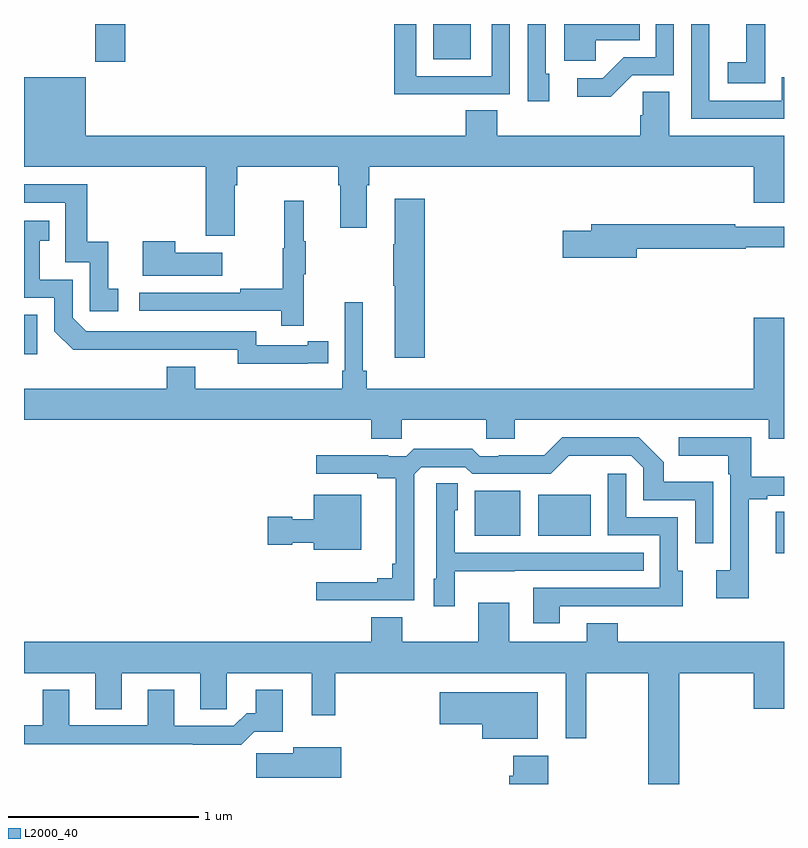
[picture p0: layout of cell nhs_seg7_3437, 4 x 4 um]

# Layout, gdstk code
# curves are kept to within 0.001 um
import gdstk
lib = gdstk.Library(unit=1e-6, precision=1e-09)
def R(c, l, rs):  # rectangles x0, y0, x1, y1
    for r in rs: c.add(gdstk.rectangle(r[:2], r[2:], *l))
def P(c, l, *ps):  # polygons
    for p in ps: c.add(gdstk.Polygon(p, *l))
L2000_40 = (2000, 40)

nhs_seg7_3437 = lib.new_cell('nhs_seg7_3437')
R(nhs_seg7_3437, L2000_40, [(332.957,1033.214,333,1033.433), (331.373,1033.307,331.612,1033.543), (331.706,1033.307,331.984,1033.522), (329,1034.262,329.07,1034.469), (329.374,1035.801,329.534,1036), (331.154,1035.815,331.351,1036)])
P(nhs_seg7_3437, L2000_40, [(331.241,1035.63),(331.557,1035.63),(331.557,1036),(331.461,1036),(331.461,1035.726),(331.065,1035.726),(331.065,1036),(330.949,1036),(330.949,1035.629),(331.241,1035.629)],
  [(333,1035.72),(332.988,1035.72),(332.988,1035.597),(332.607,1035.597),(332.607,1036),(332.511,1036),(332.511,1035.501),(333,1035.501)],
  [(331.765,1035.738),(331.746,1035.738),(331.746,1036),(331.65,1036),(331.65,1035.594),(331.765,1035.594)],
  [(332.901,1035.895),(332.9,1035.895),(332.9,1036),(332.801,1036),(332.801,1035.799),(332.703,1035.799),(332.703,1035.689),(332.901,1035.689)],
  [(332.01,1035.914),(332.24,1035.914),(332.24,1036),(331.844,1036),(331.844,1035.806),(332.01,1035.806)],
  [(332.202,1035.729),(332.421,1035.729),(332.421,1036),(332.325,1036),(332.325,1035.825),(332.156,1035.825),(332.045,1035.714),(331.911,1035.714),(331.911,1035.617),(332.089,1035.617)],
  [(330.109,1035.152),(330.122,1035.152),(330.122,1035.248),(330.653,1035.248),(330.653,1035.152),(330.665,1035.152),(330.665,1034.928),(330.805,1034.928),(330.805,1035.152),(330.818,1035.152),(330.818,1035.248),(332.84,1035.248),(332.84,1035.06),(333,1035.06),(333,1035.412),(332.395,1035.412),(332.395,1035.644),(332.256,1035.644),(332.256,1035.521),(332.243,1035.521),(332.243,1035.412),(331.49,1035.412),(331.49,1035.545),(331.325,1035.545),(331.325,1035.412),(329.326,1035.412),(329.326,1035.721),(329,1035.721),(329,1035.248),(329.957,1035.248),(329.957,1034.886),(330.109,1034.886)],
  [(329.497,1034.607),(329.444,1034.607),(329.444,1034.853),(329.333,1034.853),(329.333,1035.156),(329,1035.156),(329,1035.06),(329.217,1035.06),(329.217,1034.745),(329.346,1034.745),(329.346,1034.487),(329.497,1034.487)],
  [(331.109,1035.079),(330.95,1035.079),(330.95,1034.84),(330.943,1034.84),(330.943,1034.623),(330.95,1034.623),(330.95,1034.244),(331.109,1034.244)],
  [(330.473,1034.683),(330.484,1034.683),(330.484,1034.857),(330.473,1034.857),(330.473,1035.07),(330.37,1035.07),(330.37,1034.82),(330.363,1034.82),(330.363,1034.606),(330.139,1034.606),(330.139,1034.586),(329.607,1034.586),(329.607,1034.49),(330.355,1034.49),(330.355,1034.412),(330.473,1034.412)],
  [(330.494,1034.214),(330.602,1034.214),(330.602,1034.33),(330.494,1034.33),(330.494,1034.31),(330.222,1034.31),(330.222,1034.382),(329.328,1034.382),(329.256,1034.454),(329.256,1034.655),(329.083,1034.655),(329.083,1034.859),(329.132,1034.859),(329.132,1034.965),(329,1034.965),(329,1034.559),(329.16,1034.559),(329.16,1034.382),(329.258,1034.285),(330.126,1034.286),(330.126,1034.213)],
  [(332.224,1034.818),(332.798,1034.818),(332.798,1034.826),(333,1034.826),(333,1034.934),(332.744,1034.934),(332.744,1034.947),(331.985,1034.947),(331.985,1034.913),(331.836,1034.913),(331.836,1034.771),(332.224,1034.771)],
  [(330.043,1034.797),(329.795,1034.797),(329.795,1034.857),(329.624,1034.857),(329.624,1034.675),(330.043,1034.675)],
  [(333,1034.455),(332.84,1034.455),(332.84,1034.08),(330.803,1034.08),(330.803,1034.176),(330.784,1034.176),(330.784,1034.536),(330.687,1034.536),(330.687,1034.176),(330.674,1034.176),(330.674,1034.08),(329.902,1034.08),(329.902,1034.197),(329.75,1034.197),(329.75,1034.08),(329,1034.08),(329,1033.916),(330.827,1033.916),(330.827,1033.818),(330.987,1033.818),(330.987,1033.916),(331.432,1033.916),(331.432,1033.818),(331.582,1033.818),(331.582,1033.916),(332.921,1033.916),(332.921,1033.817),(333,1033.817)],
  [(331.053,1033.629),(331.092,1033.668),(331.323,1033.668),(331.359,1033.632),(331.773,1033.632),(331.868,1033.727),(332.196,1033.728),(332.259,1033.665),(332.259,1033.494),(332.532,1033.494),(332.532,1033.266),(332.628,1033.266),(332.628,1033.591),(332.367,1033.591),(332.367,1033.694),(332.236,1033.824),(331.833,1033.824),(331.739,1033.73),(331.498,1033.73),(331.498,1033.725),(331.398,1033.725),(331.359,1033.765),(331.051,1033.765),(331.011,1033.725),(330.917,1033.725),(330.917,1033.73),(330.537,1033.73),(330.537,1033.632),(330.86,1033.632),(330.86,1033.61),(330.956,1033.61),(330.956,1033.159),(330.937,1033.159),(330.937,1033.082),(330.86,1033.082),(330.86,1033.063),(330.537,1033.063),(330.537,1032.966),(331.053,1032.966)],
  [(332.815,1033.5),(332.911,1033.5),(332.911,1033.518),(333,1033.518),(333,1033.616),(332.827,1033.616),(332.827,1033.824),(332.445,1033.824),(332.445,1033.727),(332.706,1033.727),(332.706,1033.631),(332.718,1033.631),(332.718,1033.126),(332.643,1033.126),(332.643,1032.978),(332.815,1032.978)],
  [(331.819,1032.936),(332.249,1032.936),(332.249,1032.935),(332.467,1032.935),(332.467,1033.122),(332.442,1033.122),(332.442,1033.404),(332.169,1033.404),(332.169,1033.632),(332.073,1033.632),(332.073,1033.308),(332.346,1033.308),(332.346,1033.032),(331.679,1033.032),(331.679,1032.846),(331.819,1032.846)],
  [(331.266,1033.121),(331.583,1033.121),(331.583,1033.122),(332.261,1033.122),(332.261,1033.218),(331.266,1033.218),(331.266,1033.44),(331.282,1033.44),(331.282,1033.583),(331.17,1033.583),(331.17,1033.08),(331.157,1033.08),(331.157,1032.936),(331.266,1032.936)],
  [(330.775,1033.522),(330.524,1033.522),(330.524,1033.393),(330.411,1033.393),(330.411,1033.406),(330.282,1033.406),(330.282,1033.259),(330.411,1033.259),(330.411,1033.271),(330.524,1033.271),(330.524,1033.232),(330.775,1033.232)],
  [(332.449,1032.584),(332.84,1032.584),(332.84,1032.396),(333,1032.396),(333,1032.748),(332.125,1032.748),(332.125,1032.847),(331.961,1032.847),(331.961,1032.748),(331.555,1032.748),(331.555,1032.955),(331.391,1032.955),(331.391,1032.748),(330.991,1032.748),(330.991,1032.877),(330.827,1032.877),(330.827,1032.748),(329,1032.748),(329,1032.584),(329.375,1032.584),(329.375,1032.394),(329.515,1032.394),(329.515,1032.584),(329.927,1032.584),(329.927,1032.394),(330.066,1032.394),(330.066,1032.584),(330.515,1032.584),(330.515,1032.363),(330.637,1032.363),(330.637,1032.584),(331.85,1032.584),(331.85,1032.24),(331.96,1032.24),(331.96,1032.584),(332.285,1032.584),(332.285,1032),(332.449,1032)],
  [(330.212,1032.275),(330.361,1032.275),(330.361,1032.496),(330.221,1032.496),(330.221,1032.373),(330.172,1032.373),(330.105,1032.306),(329.791,1032.306),(329.791,1032.496),(329.651,1032.496),(329.651,1032.309),(329.239,1032.309),(329.239,1032.496),(329.099,1032.496),(329.099,1032.309),(329,1032.309),(329,1032.208),(329.887,1032.208),(329.887,1032.206),(330.143,1032.206)],
  [(331.705,1032.484),(331.188,1032.484),(331.188,1032.314),(331.412,1032.314),(331.412,1032.239),(331.705,1032.239)],
  [(330.67,1032.193),(330.416,1032.193),(330.416,1032.161),(330.222,1032.161),(330.222,1032.032),(330.67,1032.032)],
  [(331.759,1032.148),(331.575,1032.148),(331.575,1032.044),(331.555,1032.044),(331.555,1032),(331.759,1032)])

lib.write_gds('nhs_seg7_3437.gds')
